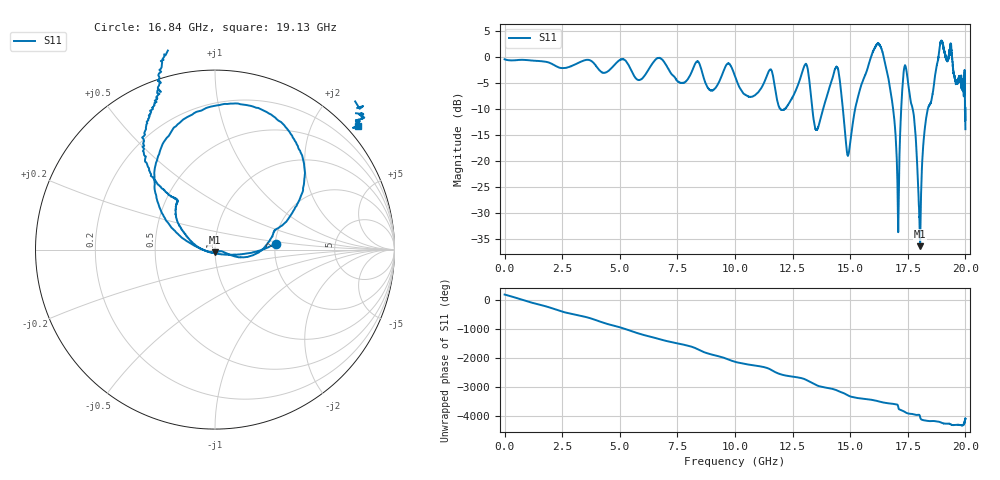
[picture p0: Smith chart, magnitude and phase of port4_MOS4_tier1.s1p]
! Created with skrf 1.8.0 (http://scikit-rf.org).
# GHz S RI R 50.0
!freq ReS11 ImS11
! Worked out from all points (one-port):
!   10001 points, 1 MHz to 20 GHz, reference 50 ohm
!   lowest |S11| = -36.5 dB at 18.04 GHz (marker M1), VSWR 1.03, Z = 49.9 - j1.49 ohm
!   |S11| at or under -10 dB: 13.36 GHz to 13.83 GHz (471.4 MHz wide, 3.47 % of centre); 14.68 GHz to 15.22 GHz (536 MHz wide, 3.59 % of centre); 17.71 GHz to 18.37 GHz (662.9 MHz wide, 3.67 % of centre) (the widest 3 of 9)
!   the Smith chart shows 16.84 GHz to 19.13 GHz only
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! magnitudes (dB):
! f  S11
! 1 MHz  -0.5
! 2.501 GHz  -2.2
! 5.001 GHz  -0.6
! 7.501 GHz  -4.7
! 8.361 GHz  -0.9
! 8.945 GHz  -6.5
! 10 GHz  -3.7
! 10.7 GHz  -7.7
! 11.54 GHz  -2.4
! 11.98 GHz  -10.1
! 12.5 GHz  -7.8
! 13.09 GHz  -1.4
! 13.56 GHz  -14.0
! 14.41 GHz  -2.0
! 14.85 GHz  -18.1
! 15 GHz  -16.5
! 15.43 GHz  -6.3
! 16.24 GHz  2.5
! 16.77 GHz  -7.1
! 17.07 GHz  -30.8
! 17.31 GHz  -3.3
! 17.5 GHz  -4.6
! 17.78 GHz  -11.9
! 18.04 GHz  -36.5
! 18.28 GHz  -12.4
! 18.94 GHz  2.9
! 19.88 GHz  -5.8
! 20 GHz  -14.0
